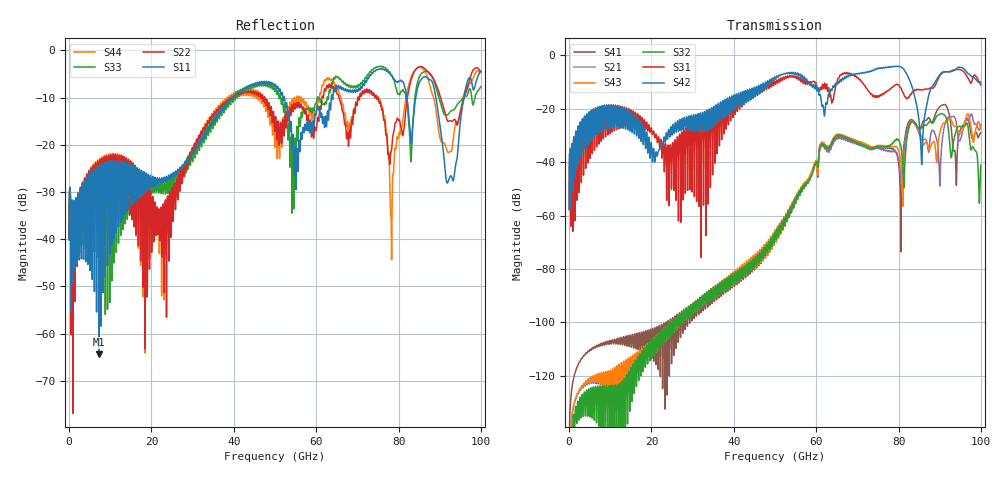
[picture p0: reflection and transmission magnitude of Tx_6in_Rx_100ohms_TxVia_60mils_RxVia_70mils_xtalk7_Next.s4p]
! Info: Touchstone file created by Circ.  Input file=Tx_6in_Rx_100ohms_TxVia_60mils_RxVia_70mils.circ
# Hz S RI R 50
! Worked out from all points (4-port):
!   10000 points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, 10 MHz to 100 GHz, reference 50 ohm
!   strongest paths, dB at 10 MHz, 25.01 GHz, 50.01 GHz, 75.01 GHz, 100 GHz:
!     S42: -57.3, -29.8, -8.7, -5.0, -10.0
!     S31: -57.9, -35.8, -10.4, -15.1, -11.1
!     S32: -170.2, -104.5, -66.2, -34.1, -41.1
!     S43: -154.6, -104.1, -65.6, -33.7, -27.5
!     S21: -167.1, -102.9, -66.8, -34.7, -26.0
!     S41: -150.3, -101.9, -66.9, -34.2, -29.0
!   lowest |S11| = -64.3 dB at 7.21 GHz (marker M1), VSWR 1.00, Z = 50 - j0.0565 ohm
!   |S11| at or under -10 dB: start of sweep to 39.94 GHz; 52.33 GHz to 63.68 GHz (11.34 GHz wide, 19.6 % of centre); 89.08 GHz to 95.87 GHz (6.789 GHz wide, 7.34 % of centre)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
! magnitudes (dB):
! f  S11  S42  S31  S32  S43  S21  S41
! 10 MHz  -40.2  -57.3  -57.9  -170.2  -154.6  -167.1  -150.3
! 7.21 GHz  -64.3  -27.9  -30.8  -138.8  -119.9  -121.0  -108.2
! 44.13 GHz  -7.3  -16.7  -16.4  -77.0  -75.8  -78.0  -77.5
! 65.16 GHz  -8.1  -10.1  -9.3  -29.9  -29.5  -31.1  -30.6
! 78.33 GHz  -5.4  -4.2  -12.1  -33.4  -34.4  -36.1  -35.0
! 85.59 GHz  -6.1  -40.4  -12.9  -27.3  -31.2  -31.7  -26.2
! 100 GHz  -4.4  -10.0  -11.1  -41.1  -27.5  -26.0  -29.0
